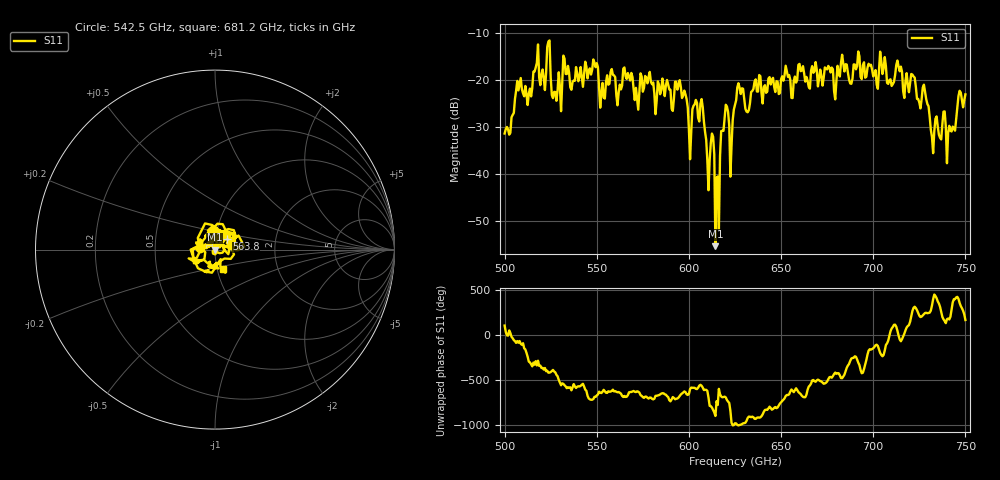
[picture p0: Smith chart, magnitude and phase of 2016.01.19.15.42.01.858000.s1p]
!Created with skrf (http://scikit-rf.org).
# GHz S RI R 50.0
!freq ReS11 ImS11
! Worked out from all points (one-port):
!   401 points, 500 GHz to 750 GHz, reference 50 ohm
!   lowest |S11| = -55.4 dB at 614.4 GHz (marker M1), VSWR 1.00, Z = 49.8 + j0.00605 ohm
!   |S11| at or under -10 dB: start of sweep to end of sweep
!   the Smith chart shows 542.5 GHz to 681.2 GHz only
!   S11 on the Smith chart (normalised r, x): 542.5 GHz: 0.84, +0.01; 563.8 GHz: 1.13, +0.13; 681.2 GHz: 1.07, -0.24
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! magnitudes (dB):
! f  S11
! 500 GHz  -31.4
! 516.9 GHz  -17.4
! 520.6 GHz  -17.8
! 523.8 GHz  -11.9
! 526.9 GHz  -22.6
! 531.2 GHz  -20.6
! 542.5 GHz  -21.5
! 562.5 GHz  -21.0
! 563.8 GHz  -21.2
! 593.8 GHz  -22.1
! 600.6 GHz  -36.9
! 607.5 GHz  -25.8
! 610 GHz  -37.2
! 612.5 GHz  -31.5
! 614.4 GHz  -55.4
! 615.6 GHz  -40.6
! 618.8 GHz  -30.9
! 623.1 GHz  -34.0
! 625 GHz  -25.4
! 656.2 GHz  -23.9
! 681.2 GHz  -18.6
! 687.5 GHz  -20.8
! 705 GHz  -18.8
! 718.8 GHz  -21.0
! 728.1 GHz  -22.6
! 732.5 GHz  -35.6
! 741.2 GHz  -29.8
! 750 GHz  -23.1
